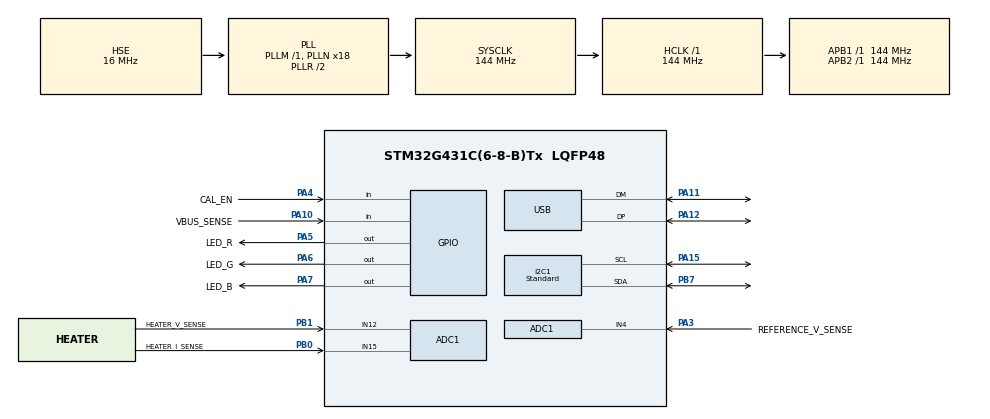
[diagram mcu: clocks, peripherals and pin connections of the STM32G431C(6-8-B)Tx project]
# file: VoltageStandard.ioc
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ADC1.Channel-4\#ChannelRegularConversion=ADC_CHANNEL_4
ADC1.Channel-5\#ChannelRegularConversion=ADC_CHANNEL_12
ADC1.Channel-6\#ChannelRegularConversion=ADC_CHANNEL_15
ADC1.ContinuousConvMode=DISABLE
ADC1.DMAContinuousRequests=DISABLE
ADC1.DiscontinuousConvMode=ENABLE
ADC1.NbrOfConversion=3
ADC1.NbrOfConversionFlag=1
ADC1.OffsetNumber-4\#ChannelRegularConversion=ADC_OFFSET_NONE
ADC1.OffsetNumber-5\#ChannelRegularConversion=ADC_OFFSET_NONE
ADC1.OffsetNumber-6\#ChannelRegularConversion=ADC_OFFSET_NONE
ADC1.Rank-4\#ChannelRegularConversion=1
ADC1.Rank-5\#ChannelRegularConversion=2
ADC1.Rank-6\#ChannelRegularConversion=3
ADC1.SamplingTime-4\#ChannelRegularConversion=ADC_SAMPLETIME_24CYCLES_5
ADC1.SamplingTime-5\#ChannelRegularConversion=ADC_SAMPLETIME_24CYCLES_5
ADC1.SamplingTime-6\#ChannelRegularConversion=ADC_SAMPLETIME_24CYCLES_5
ADC1.master=1
I2C1.I2C_Speed_Mode=I2C_Standard
I2C1.Timing=0x60715075
Mcu.Family=STM32G4
Mcu.Name=STM32G431C(6-8-B)Tx
Mcu.Package=LQFP48
NVIC.PriorityGroup=NVIC_PRIORITYGROUP_4
NVIC.USB_HP_IRQn=true\:0\:0\:false\:false\:true\:true\:true\:true
NVIC.USB_LP_IRQn=true\:0\:0\:false\:false\:true\:true\:true\:true
PA10.GPIO_Label=VBUS_SENSE
PA10.Signal=GPIO_Input
PA11.Mode=Device
PA11.Signal=USB_DM
PA12.Mode=Device
PA12.Signal=USB_DP
PA13.Mode=Serial_Wire
PA13.Signal=SYS_JTMS-SWDIO
PA14.Mode=Serial_Wire
PA14.Signal=SYS_JTCK-SWCLK
PA15.Mode=I2C
PA15.Signal=I2C1_SCL
PA3.GPIO_Label=REFERENCE_V_SENSE
PA3.Mode=IN4-Single-Ended
PA3.Signal=ADC1_IN4
PA4.GPIO_Label=CAL_EN
PA4.GPIO_PuPd=GPIO_PULLUP
PA4.Signal=GPIO_Input
PA5.GPIO_Label=LED_R
PA5.Signal=GPIO_Output
PA6.GPIO_Label=LED_G
PA6.Signal=GPIO_Output
PA7.GPIO_Label=LED_B
PA7.Signal=GPIO_Output
PB0.GPIO_Label=HEATER_I_SENSE
PB0.Mode=IN15-Single-Ended
PB0.Signal=ADC1_IN15
PB1.GPIO_Label=HEATER_V_SENSE
PB1.Mode=IN12-Single-Ended
PB1.Signal=ADC1_IN12
PB12.GPIO_Label=TEMP_SENSE
PB12.Signal=ADC1_IN11
PB7.Mode=I2C
PB7.Signal=I2C1_SDA
PF0-OSC_IN.Mode=HSE-External-Oscillator
PF0-OSC_IN.Signal=RCC_OSC_IN
PF1-OSC_OUT.Mode=HSE-External-Oscillator
PF1-OSC_OUT.Signal=RCC_OSC_OUT
ProjectManager.HeapSize=0x600
ProjectManager.StackSize=0x400
ProjectManager.TargetToolchain=Makefile
RCC.ADC12Freq_Value=144000000
RCC.AHBFreq_Value=144000000
RCC.APB1Freq_Value=144000000
RCC.APB1TimFreq_Value=144000000
RCC.APB2Freq_Value=144000000
RCC.APB2TimFreq_Value=144000000
RCC.CortexFreq_Value=144000000
RCC.EXTERNAL_CLOCK_VALUE=12288000
RCC.HCLKFreq_Value=144000000
RCC.HSE_VALUE=16000000
RCC.HSI48_VALUE=48000000
RCC.HSI_VALUE=16000000
RCC.LSE_VALUE=32768
RCC.PLLN=18
RCC.PLLQ=RCC_PLLQ_DIV6
RCC.PLLSourceVirtual=RCC_PLLSOURCE_HSE
RCC.SYSCLKFreq_VALUE=144000000
RCC.SYSCLKSource=RCC_SYSCLKSOURCE_PLLCLK
RCC.USBFreq_Value=48000000
RCC.VCOOutputFreq_Value=288000000
TIM16.ClockDivision=TIM_CLOCKDIVISION_DIV1
TIM16.Prescaler=4000-1
USB_DEVICE.CLASS_NAME_FS=CDC
USB_DEVICE.VirtualMode=Cdc
USB_DEVICE.VirtualModeFS=Cdc_FS
VP_SYS_VS_DBSignals.Mode=DisableDeadBatterySignals
VP_TIM16_VS_ClockSourceINT.Mode=Enable_Timer
VP_USB_DEVICE_VS_USB_DEVICE_CDC_FS.Mode=CDC_FS
board=custom

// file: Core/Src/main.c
/* USER CODE BEGIN Header */
/**
  ******************************************************************************
  * @file           : main.c
  * @brief          : Main program body
  ******************************************************************************
  * @attention
  *
  * Copyright (c) 2026 STMicroelectronics.
  * All rights reserved.
  *
  * This software is licensed under terms that can be found in the LICENSE file
  * in the root directory of this software component.
  * If no LICENSE file comes with this software, it is provided AS-IS.
  *
  ******************************************************************************
  */

    /*
        TODO:
            WriteCalibrationData()
            ReadCalibrationData()

            Create a system to read from USB and calibrate

    */

/* USER CODE END Header */
#include "main.h"
#include "usb_device.h"

/* USER CODE BEGIN Includes */
#include <stm32g431xx.h>
#include <stm32g4xx_hal_pwr_ex.h>
#include <stm32g4xx_hal_pcd.h>
#include <stm32g4xx_hal_rcc.h>
#include <stm32_hal_legacy.h>
#include "usbd_cdc_if.h"
#include <TMP102.h>
#include <M24Cxx.h>
#include <CalibrationData.h>
#include <Log.h>
/* USER CODE END Includes */

/* USER CODE BEGIN PD */
#define USB_BUFLEN 128

#define EEPROM_SIZE_KB 8

#define EEPROM_ADDR_INIT_CAL_DONE 0x1
#define EEPROM_ADDR_OPERATING_TIME 0x2
#define EEPROM_ADDR_CAL_DATA_STRUC 0xf

/* USER CODE END PD */

ADC_HandleTypeDef hadc1;

I2C_HandleTypeDef hi2c1;

TIM_HandleTypeDef htim16;

/* USER CODE BEGIN PV */
uint8_t usbRxBuffer[USB_BUFLEN];
uint16_t usbRxBufferLen;
uint8_t usbRxFlag = 0;
M24Cxx eeprom;
uint32_t uptime_s = 0;
uint16_t uptime_h;

/* USER CODE END PV */

void SystemClock_Config(void);
static void MX_GPIO_Init(void);
static void MX_ADC1_Init(void);
static void MX_I2C1_Init(void);
static void MX_TIM16_Init(void);

/* USER CODE BEGIN 0 */

/*
    EEPROM STRUCTURE
0x2     2 bytes         Uptime
0xf     10 bytes        CalibrationHeader
...     ...             InitialCal
...     ...             Calibrations

*/

uint16_t ReadHourStats(M24Cxx* eeprom) {
    union HourBuffer {
        uint8_t b8[2];
        uint16_t b16;
    }  buffer;

    M24Cxx_Read_Bytes(eeprom, EEPROM_ADDR_OPERATING_TIME, buffer.b8, 2);
    return buffer.b16;
}

void WriteHourStats(M24Cxx* eeprom, uint16_t val) {
    union HourBuffer {
        uint8_t b8[2];
        uint16_t b16;
    }  buffer;

    buffer.b16 = val;

    M24Cxx_Write_Buffer(eeprom, EEPROM_ADDR_OPERATING_TIME, buffer.b8, 2);
}

CalibrationHeader ReadCalHeader(M24Cxx* eeprom) {
    CalibrationHeader header;

    M24Cxx_Read_Bytes(eeprom, EEPROM_ADDR_CAL_DATA_STRUC, (uint8_t*)&header, sizeof(CalibrationHeader));

    return header;
}

void WriteCalHeader(M24Cxx* eeprom, CalibrationHeader* header) {

    M24Cxx_Write_Buffer(eeprom, EEPROM_ADDR_CAL_DATA_STRUC, (uint8_t*)header, sizeof(CalibrationHeader));

}

void InitCalHeader(M24Cxx* eeprom) {
    CalibrationHeader header;
    header.initial_addr = EEPROM_ADDR_CAL_DATA_STRUC + 0x8 + sizeof(CalibrationHeader);
    header.initial_done = 0;
    header.entry_addr = header.initial_addr + 0x8 + sizeof(CalibrationDataInfo);
    header.entry_size = sizeof(CalibrationData);
    header.len = 0;

    WriteCalHeader(eeprom, &header);
}

void WriteInitialCalibration(
    M24Cxx* eeprom,
    CalibrationDataInfo* calInfo
) {

    // Get Calibration Header
    CalibrationHeader header = ReadCalHeader(eeprom);

    // Check if calibration has been done already
    if (header.initial_done)
        return; // Return if true

    // Write to memory

    M24Cxx_Write_Buffer(eeprom, header.initial_addr, (uint8_t*)calInfo, sizeof(CalibrationDataInfo));

    header.initial_done = 1;
    WriteCalHeader(eeprom, &header);
}

/// @brief Reads Initial Cal Data from eeprom
/// @param eeprom - pointer to M24Cxx struct to rea from
/// @param info - pointer to CalibrationDataInfo to write to
/// @return 0 - fail
/// @return 1 - success
uint8_t ReadInitialCalibration(
    M24Cxx* eeprom,
    CalibrationDataInfo* info
) {

    // Get Calibration Header
    CalibrationHeader header = ReadCalHeader(eeprom);

    // Check if calibration has been done already
    if (!header.initial_done)
        return 0; // Return if false

    // Read calibration
    M24Cxx_Read_Bytes(eeprom, header.initial_addr, (uint8_t*)info, sizeof(CalibrationDataInfo));

    return 1;
}

uint8_t WriteCalibrationData(M24Cxx* eeprom, CalibrationData* data) {
    // Get Calibration Header
    CalibrationHeader header = ReadCalHeader(eeprom);

    // Get Addr
    uint16_t addr = header.entry_addr + header.entry_size * header.len;

    // Write data
    M24Cxx_Write_Buffer(eeprom, addr, (uint8_t*)data, sizeof(CalibrationData));

    // Increment lengh and write it back
    header.len++;
    WriteCalHeader(eeprom, &header);
    return 1;
}

uint8_t ReadCalibrationData(M24Cxx* eeprom, CalibrationData* data, uint16_t index) {
    // Get Calibration Header
    CalibrationHeader header = ReadCalHeader(eeprom);

    // Get Addr
    uint16_t addr = header.entry_addr + header.entry_size * index;
    // Read
    M24Cxx_Read_Bytes(eeprom, addr, (uint8_t*)data, sizeof(CalibrationData));

    return 1;
}

CalibrationData USB_CalData;
CalibrationDataInfo USB_InitialCal;
uint8_t USB_CalDataPos = 0;
uint16_t USB_Cal_Index = 0;
uint8_t USB_GET_Data_Flag = 0;

#define USB_CALDATA_POS_NONE 0
#define USB_CALDATA_POS_CAL_MASK 1
#define USB_CALDATA_POS_CAL_VOLTAGE 12
#define USB_CALDATA_POS_CAL_DATE 2
#define USB_CALDATA_POS_CAL_END 3
#define USB_CALDATA_POS_CAL_GET_INDEX 4
#define USB_CALDATA_POS_CAL_GET_END 5
#define USB_CALDATA_POS_CAL_GET_INFO 6
#define USB_CALDATA_POS_CAL_GET_INFO_END 7
#define USB_CALDATA_POS_CAL_INIT_SERIAL 8
#define USB_CALDATA_POS_CAL_INIT_DATE 9
#define USB_CALDATA_POS_CAL_INIT_VOLTAGE 10
#define USB_CALDATA_POS_CAL_INIT_END 11

void USB_RXCallback(uint8_t* buf, uint32_t* len) {
    memcpy(usbRxBuffer, buf, *len);
    usbRxBufferLen = *len;
    usbRxBuffer[usbRxBufferLen] = 0;
    usbRxFlag = 1;

    switch (USB_CalDataPos)
    {
    case 1: {
        USB_CalDataPos = USB_CALDATA_POS_CAL_VOLTAGE;
        USB_CalData.mask = (uint8_t)strtoul((char*)usbRxBuffer, NULL, 16);
        break;
    }
    case USB_CALDATA_POS_CAL_VOLTAGE: {
        //USB_printf("Date: %s\r\n", usbRxBuffer);
        uint16_t len = strlen((char*)usbRxBuffer);
        if (len >= 12)
            USB_printf("ERR: Invalid Voltage. Too long. Len = %u\r\n", len);
        strcpy(USB_CalData.voltage, (char*)usbRxBuffer);
        USB_CalDataPos = USB_CALDATA_POS_CAL_DATE;
        break;
    }
    case USB_CALDATA_POS_CAL_DATE: {
        //USB_printf("Date: %s\r\n", usbRxBuffer);
        uint16_t len = strlen((char*)usbRxBuffer);
        if (len >= 12)
            USB_printf("ERR: Invalid date. Too long. Len = %u\r\n", len);
        strcpy(USB_CalData.date, (char*)usbRxBuffer);
        USB_CalDataPos = USB_CALDATA_POS_CAL_END;
        break;
    }
    case USB_CALDATA_POS_CAL_END: {
        if(!strcmp((char*)usbRxBuffer, "END")) {
            USB_CalData.uptime = uptime_h;
            USB_CalData.temp = TMP102_GetReading(&hi2c1);
            WriteCalibrationData(&eeprom, &USB_CalData);
            USB_CalDataPos = 0;
            USB_printf("CAL DONE\r\n");
        } else
            USB_printf("ERROR\r\n");

        break;
    }
    case USB_CALDATA_POS_CAL_GET_INDEX: {
        USB_CalDataPos = USB_CALDATA_POS_CAL_GET_END;
        USB_Cal_Index = (uint8_t)strtoul((char*)usbRxBuffer, NULL, 16);
        break;
    }
    case USB_CALDATA_POS_CAL_GET_END: {
        CalibrationData data;
        ReadCalibrationData(&eeprom, &data, USB_Cal_Index);

        uint16_t integer_part = (int)data.temp;
        uint16_t fractional_part = (int)((data.temp - integer_part) * 100);

        USB_printf(
            "BEGIN\r\n"
            "0x%x\r\n"
            "%s\r\n"
            "%s\r\n"
            "%u.%u\r\n"
            "%u\r\n"
            "END\r\n",
            data.mask,
            data.voltage,
            data.date,
            integer_part, fractional_part,
            data.uptime
        );
        USB_CalDataPos = USB_CALDATA_POS_NONE;
        break;
    }
    case USB_CALDATA_POS_CAL_INIT_SERIAL: {
        strcpy(USB_InitialCal.LM399_serial_number, usbRxBuffer);
        USB_CalDataPos = USB_CALDATA_POS_CAL_INIT_DATE;
        break;
    }
    case USB_CALDATA_POS_CAL_INIT_DATE: {
        strcpy(USB_InitialCal.initial_cal_date, usbRxBuffer);
        USB_CalDataPos = USB_CALDATA_POS_CAL_INIT_VOLTAGE;
        break;
    }
    case USB_CALDATA_POS_CAL_INIT_VOLTAGE: {
        strcpy(USB_InitialCal.initial_cal_voltage, usbRxBuffer);
        USB_CalDataPos = USB_CALDATA_POS_CAL_INIT_END;
        break;
    }
    case USB_CALDATA_POS_CAL_INIT_END: {

        USB_InitialCal.initial_cal_temperature = TMP102_GetReading(&hi2c1);
        WriteInitialCalibration(&eeprom, &USB_InitialCal);
        USB_CalDataPos = USB_CALDATA_POS_NONE;
        USB_printf("DONE\r\n");
        break;
    }
    default:
        break;
    }

    if(!strcmp(usbRxBuffer, "BEGIN CAL")){
        if (!HAL_GPIO_ReadPin(CAL_EN_GPIO_Port, CAL_EN_Pin))
            USB_CalDataPos = USB_CALDATA_POS_CAL_MASK;
        else
            USB_printf("ERROR: Function Disabled\r\n");
    } else if(!strcmp(usbRxBuffer, "BEGIN GET_CAL")) {
        USB_CalDataPos = 4;
    } else if(!strcmp(usbRxBuffer, "GET_INFO")) {

        CalibrationHeader header = ReadCalHeader(&eeprom);
        USB_printf(
            "BEGIN\r\n"
            "%u\r\n"
            "%u\r\n"
            "%u\r\n"
            "END\r\n",
            header.entry_addr,
            header.entry_size,
            header.len
        );

    } else if(!strcmp(usbRxBuffer, "GET_INIT_CAL")) {

        CalibrationDataInfo initCal;
        if (ReadInitialCalibration(&eeprom, &initCal)) {
            uint16_t integer_part = (int)initCal.initial_cal_temperature;
            uint16_t fractional_part = (int)((initCal.initial_cal_temperature - integer_part) * 100);
            USB_printf(
                "BEGIN\r\n"
                "%s\r\n"
                "%s\r\n"
                "%s\r\n"
                "%u.%u\r\n"
                "END\r\n",
                initCal.LM399_serial_number,
                initCal.initial_cal_date,
                initCal.initial_cal_voltage,
                integer_part,
                fractional_part
            );
        } else {
            USB_printf("NO INIT CAL\r\n");
        }

    } else if(!strcmp(usbRxBuffer, "RESET")) {
        NVIC_SystemReset();
    } else if(!strcmp(usbRxBuffer, "INIT_FULL")) {
        if (!HAL_GPIO_ReadPin(CAL_EN_GPIO_Port, CAL_EN_Pin)) {
            InitCalHeader(&eeprom);
            USB_printf("DONE\r\n");
        } else {
            USB_printf("ERROR: Function Disabled\r\n");
        }
    } else if(!strcmp(usbRxBuffer, "CLEAR_STATS")) {
        if (!HAL_GPIO_ReadPin(CAL_EN_GPIO_Port, CAL_EN_Pin)) {
            WriteHourStats(&eeprom, 0);
            USB_printf("DONE\r\n");
        } else {
            USB_printf("ERROR: Function Disabled\r\n");
        }

    } else if(!strcmp(usbRxBuffer, "GET")) {
        USB_GET_Data_Flag = 1;
    } else if(!strcmp(usbRxBuffer, "BEGIN INIT_CAL")) {
        if (!HAL_GPIO_ReadPin(CAL_EN_GPIO_Port, CAL_EN_Pin)) {
            CalibrationHeader header = ReadCalHeader(&eeprom);
            if (header.initial_done)
                USB_printf("ERROR: Calibration has already been done\r\n");
            else
                USB_CalDataPos = USB_CALDATA_POS_CAL_INIT_SERIAL;
        } else {
            USB_printf("ERROR: Function Disabled\r\n");
        }
    }
}

/* USER CODE END 0 */

int main(void)
{

  /* MCU Configuration--------------------------------------------------------*/

  /* Reset of all peripherals, Initializes the Flash interface and the Systick. */
  HAL_Init();

  /* Configure the system clock */
  SystemClock_Config();

  /* USER CODE BEGIN SysInit */
    HAL_GPIO_WritePin(GPIOA, GPIO_PIN_12, GPIO_PIN_RESET);
    HAL_Delay(500);
  /* USER CODE END SysInit */

  /* Initialize all configured peripherals */
  MX_GPIO_Init();
  MX_ADC1_Init();
  MX_I2C1_Init();
  MX_TIM16_Init();
  MX_USB_Device_Init();
  /* USER CODE BEGIN 2 */

    // Debug
    //#define HEATUP_TIME 2000
    // Final
    #define HEATUP_TIME 600000

    uint32_t time_setup_start = HAL_GetTick();
    uint8_t heater_state = 0;

    HAL_GPIO_WritePin(LED_R_GPIO_Port, LED_R_Pin, 1);

    // Setup timer

    HAL_TIM_Base_Start(&htim16);
    uint32_t uptime_start = HAL_GetTick();

    eeprom = M24Cxx_Init(
        &hi2c1,
        0b1010000,
        8192,
        32,
        I2C_MEMADD_SIZE_16BIT
    );

    uptime_h = ReadHourStats(&eeprom);

    HAL_Delay(2000);

  /* USER CODE END 2 */

  /* Infinite loop */
  /* USER CODE BEGIN WHILE */
    while (1)
    {
        if (!heater_state) {
            if (HAL_GetTick() - time_setup_start > HEATUP_TIME) {
                heater_state = 1;
                HAL_GPIO_WritePin(LED_R_GPIO_Port, LED_R_Pin, 0);
                HAL_GPIO_WritePin(LED_G_GPIO_Port, LED_G_Pin, 1);
            }
        }

        // Get counter value
        uint32_t uptime = HAL_GetTick();
        if (uptime - uptime_start > 1000) {
            uptime_start = uptime;
            uptime_s++;
            if (uptime_s >= 3600) {
                uptime_s = 0;
                uptime_h++;
                WriteHourStats(&eeprom, uptime_h);
            }

        }
        if (USB_GET_Data_Flag) {

            USB_GET_Data_Flag = 0;

            USB_printf("BEGIN\r\n");
            // Uptime
            USB_printf("Uptime: %uh %umin %us\r\n",uptime_h, uptime_s / 60, uptime_s % 60);

            // Temperature external
            float temp_ex = TMP102_GetReading(&hi2c1);
            uint32_t integer_part = (int)temp_ex;
            uint32_t fractional_part = (int)((temp_ex - integer_part) * 100);
            USB_printf("Temperature External: %lu.%02lu°C\r\n", integer_part, fractional_part);

            // Reference Voltage
            HAL_ADC_Start(&hadc1);
            HAL_ADC_PollForConversion(&hadc1, HAL_MAX_DELAY);
            uint16_t reference_voltage_raw = HAL_ADC_GetValue(&hadc1);
            float reference_voltage = reference_voltage_raw * 18.5f;
            reference_voltage /= 4095.0f;
            const float offset_reference_voltage = 0.0f;
            reference_voltage += offset_reference_voltage;
            integer_part = (int)reference_voltage;
            fractional_part = (int)((reference_voltage - integer_part) * 100);
            USB_printf("Reference Voltage: %lu.%02luV\r\n", integer_part, fractional_part);

            HAL_ADC_Start(&hadc1);
            HAL_ADC_PollForConversion(&hadc1, HAL_MAX_DELAY);
            uint16_t heater_voltage_raw = HAL_ADC_GetValue(&hadc1);
            float heater_voltage = heater_voltage_raw * 18.5f;
            heater_voltage /= 4095.0f;
            const float offset_heater_voltage = 0.0f;
            heater_voltage += offset_heater_voltage;
            integer_part = (int)heater_voltage;
            fractional_part = (int)((heater_voltage - integer_part) * 100);
            USB_printf("Heater Voltage: %lu.%02luV\r\n", integer_part, fractional_part);

            // Heater current
            HAL_ADC_Start(&hadc1);
            HAL_ADC_PollForConversion(&hadc1, HAL_MAX_DELAY);
            uint16_t heater_current_raw = HAL_ADC_GetValue(&hadc1);
            double heater_current = heater_current_raw * 3.3f;
            heater_current /= 4095.0f;
            heater_current *= 100.0f;
            const double offset_heater_current = 0.0f;
            heater_current += offset_heater_current;
            integer_part = (int)heater_current;
            fractional_part = (int)((heater_current - integer_part) * 100);
            USB_printf("Heater Current: %lu.%02lumA\r\n", integer_part, fractional_part);

            HAL_ADC_Stop(&hadc1);

            /*
            uint32_t heater_voltage_raw;
            HAL_ADC_Start(&hadc1);

            HAL_ADC_PollForConversion(&hadc1, HAL_MAX_DELAY);
            heater_voltage_raw = HAL_ADC_GetValue(&hadc1);
            HAL_ADC_Stop(&hadc1);
            // 4095 - 18.5
            // raw - x
            float heater_voltage = heater_voltage_raw * 18.5f;
            heater_voltage /= 4095.0f;
            const float offset = 0.0f;
            heater_voltage += offset;
            integer_part = (int)heater_voltage;
            fractional_part = (int)((heater_voltage - integer_part) * 100);
            USB_printf("Heater Voltage: %lu.%luV\r\n", integer_part, fractional_part);
            */
            USB_printf("END\r\n");

        }

        /*
        if (usbRxFlag && usbRxBufferLen) {
            USB_printf(usbRxBuffer);

            usbRxBuffer[0] = 0;
            usbRxFlag = 0;
            usbRxBufferLen = 0;
        }*/

    /* USER CODE END WHILE */

    }
}

void SystemClock_Config(void)
{
  RCC_OscInitTypeDef RCC_OscInitStruct = {0};
  RCC_ClkInitTypeDef RCC_ClkInitStruct = {0};

  /** Configure the main internal regulator output voltage
  */
  HAL_PWREx_ControlVoltageScaling(PWR_REGULATOR_VOLTAGE_SCALE1);

  /** Initializes the RCC Oscillators according to the specified parameters
  * in the RCC_OscInitTypeDef structure.
  */
  RCC_OscInitStruct.OscillatorType = RCC_OSCILLATORTYPE_HSE;
  RCC_OscInitStruct.HSEState = RCC_HSE_ON;
  RCC_OscInitStruct.PLL.PLLState = RCC_PLL_ON;
  RCC_OscInitStruct.PLL.PLLSource = RCC_PLLSOURCE_HSE;
  RCC_OscInitStruct.PLL.PLLM = RCC_PLLM_DIV1;
  RCC_OscInitStruct.PLL.PLLN = 18;
  RCC_OscInitStruct.PLL.PLLP = RCC_PLLP_DIV2;
  RCC_OscInitStruct.PLL.PLLQ = RCC_PLLQ_DIV6;
  RCC_OscInitStruct.PLL.PLLR = RCC_PLLR_DIV2;
  if (HAL_RCC_OscConfig(&RCC_OscInitStruct) != HAL_OK)
  {
    Error_Handler();
  }

  /** Initializes the CPU, AHB and APB buses clocks
  */
  RCC_ClkInitStruct.ClockType = RCC_CLOCKTYPE_HCLK|RCC_CLOCKTYPE_SYSCLK
                              |RCC_CLOCKTYPE_PCLK1|RCC_CLOCKTYPE_PCLK2;
  RCC_ClkInitStruct.SYSCLKSource = RCC_SYSCLKSOURCE_PLLCLK;
  RCC_ClkInitStruct.AHBCLKDivider = RCC_SYSCLK_DIV1;
  RCC_ClkInitStruct.APB1CLKDivider = RCC_HCLK_DIV1;
  RCC_ClkInitStruct.APB2CLKDivider = RCC_HCLK_DIV1;

  if (HAL_RCC_ClockConfig(&RCC_ClkInitStruct, FLASH_LATENCY_4) != HAL_OK)
  {
    Error_Handler();
  }
}

static void MX_ADC1_Init(void)
{

  ADC_MultiModeTypeDef multimode = {0};
  ADC_ChannelConfTypeDef sConfig = {0};

  /** Common config
  */
  hadc1.Instance = ADC1;
  hadc1.Init.ClockPrescaler = ADC_CLOCK_SYNC_PCLK_DIV4;
  hadc1.Init.Resolution = ADC_RESOLUTION_12B;
  hadc1.Init.DataAlign = ADC_DATAALIGN_RIGHT;
  hadc1.Init.GainCompensation = 0;
  hadc1.Init.ScanConvMode = ADC_SCAN_ENABLE;
  hadc1.Init.EOCSelection = ADC_EOC_SINGLE_CONV;
  hadc1.Init.LowPowerAutoWait = DISABLE;
  hadc1.Init.ContinuousConvMode = DISABLE;
  hadc1.Init.NbrOfConversion = 3;
  hadc1.Init.DiscontinuousConvMode = ENABLE;
  hadc1.Init.NbrOfDiscConversion = 1;
  hadc1.Init.ExternalTrigConv = ADC_SOFTWARE_START;
  hadc1.Init.ExternalTrigConvEdge = ADC_EXTERNALTRIGCONVEDGE_NONE;
  hadc1.Init.DMAContinuousRequests = DISABLE;
  hadc1.Init.Overrun = ADC_OVR_DATA_PRESERVED;
  hadc1.Init.OversamplingMode = DISABLE;
  if (HAL_ADC_Init(&hadc1) != HAL_OK)
  {
    Error_Handler();
  }

  /** Configure the ADC multi-mode
  */
  multimode.Mode = ADC_MODE_INDEPENDENT;
  if (HAL_ADCEx_MultiModeConfigChannel(&hadc1, &multimode) != HAL_OK)
  {
    Error_Handler();
  }

  /** Configure Regular Channel
  */
  sConfig.Channel = ADC_CHANNEL_4;
  sConfig.Rank = ADC_REGULAR_RANK_1;
  sConfig.SamplingTime = ADC_SAMPLETIME_24CYCLES_5;
  sConfig.SingleDiff = ADC_SINGLE_ENDED;
  sConfig.OffsetNumber = ADC_OFFSET_NONE;
  sConfig.Offset = 0;
  if (HAL_ADC_ConfigChannel(&hadc1, &sConfig) != HAL_OK)
  {
    Error_Handler();
  }

  /** Configure Regular Channel
  */
  sConfig.Channel = ADC_CHANNEL_12;
  sConfig.Rank = ADC_REGULAR_RANK_2;
  if (HAL_ADC_ConfigChannel(&hadc1, &sConfig) != HAL_OK)
  {
    Error_Handler();
  }

  /** Configure Regular Channel
  */
  sConfig.Channel = ADC_CHANNEL_15;
  sConfig.Rank = ADC_REGULAR_RANK_3;
  if (HAL_ADC_ConfigChannel(&hadc1, &sConfig) != HAL_OK)
  {
    Error_Handler();
  }

}

static void MX_I2C1_Init(void)
{

  hi2c1.Instance = I2C1;
  hi2c1.Init.Timing = 0x60715075;
  hi2c1.Init.OwnAddress1 = 0;
  hi2c1.Init.AddressingMode = I2C_ADDRESSINGMODE_7BIT;
  hi2c1.Init.DualAddressMode = I2C_DUALADDRESS_DISABLE;
  hi2c1.Init.OwnAddress2 = 0;
  hi2c1.Init.OwnAddress2Masks = I2C_OA2_NOMASK;
  hi2c1.Init.GeneralCallMode = I2C_GENERALCALL_DISABLE;
  hi2c1.Init.NoStretchMode = I2C_NOSTRETCH_DISABLE;
  if (HAL_I2C_Init(&hi2c1) != HAL_OK)
  {
    Error_Handler();
  }

  /** Configure Analogue filter
  */
  if (HAL_I2CEx_ConfigAnalogFilter(&hi2c1, I2C_ANALOGFILTER_ENABLE) != HAL_OK)
  {
    Error_Handler();
  }

  /** Configure Digital filter
  */
  if (HAL_I2CEx_ConfigDigitalFilter(&hi2c1, 0) != HAL_OK)
  {
    Error_Handler();
  }

}

static void MX_TIM16_Init(void)
{

  htim16.Instance = TIM16;
  htim16.Init.Prescaler = 4000-1;
  htim16.Init.CounterMode = TIM_COUNTERMODE_UP;
  htim16.Init.Period = 65535;
  htim16.Init.ClockDivision = TIM_CLOCKDIVISION_DIV1;
  htim16.Init.RepetitionCounter = 0;
  htim16.Init.AutoReloadPreload = TIM_AUTORELOAD_PRELOAD_DISABLE;
  if (HAL_TIM_Base_Init(&htim16) != HAL_OK)
  {
    Error_Handler();
  }

}

static void MX_GPIO_Init(void)
{
  GPIO_InitTypeDef GPIO_InitStruct = {0};

  /* GPIO Ports Clock Enable */
  __HAL_RCC_GPIOF_CLK_ENABLE();
  __HAL_RCC_GPIOA_CLK_ENABLE();
  __HAL_RCC_GPIOB_CLK_ENABLE();

  /*Configure GPIO pin Output Level */
  HAL_GPIO_WritePin(GPIOA, LED_R_Pin|LED_G_Pin|LED_B_Pin, GPIO_PIN_RESET);

  /*Configure GPIO pin : CAL_EN_Pin */
  GPIO_InitStruct.Pin = CAL_EN_Pin;
  GPIO_InitStruct.Mode = GPIO_MODE_INPUT;
  GPIO_InitStruct.Pull = GPIO_PULLUP;
  HAL_GPIO_Init(CAL_EN_GPIO_Port, &GPIO_InitStruct);

  /*Configure GPIO pins : LED_R_Pin LED_G_Pin LED_B_Pin */
  GPIO_InitStruct.Pin = LED_R_Pin|LED_G_Pin|LED_B_Pin;
  GPIO_InitStruct.Mode = GPIO_MODE_OUTPUT_PP;
  GPIO_InitStruct.Pull = GPIO_NOPULL;
  GPIO_InitStruct.Speed = GPIO_SPEED_FREQ_LOW;
  HAL_GPIO_Init(GPIOA, &GPIO_InitStruct);

  /*Configure GPIO pin : VBUS_SENSE_Pin */
  GPIO_InitStruct.Pin = VBUS_SENSE_Pin;
  GPIO_InitStruct.Mode = GPIO_MODE_INPUT;
  GPIO_InitStruct.Pull = GPIO_NOPULL;
  HAL_GPIO_Init(VBUS_SENSE_GPIO_Port, &GPIO_InitStruct);

}

void Error_Handler(void)
{
  __disable_irq();
  while (1)
  {
  }
}
